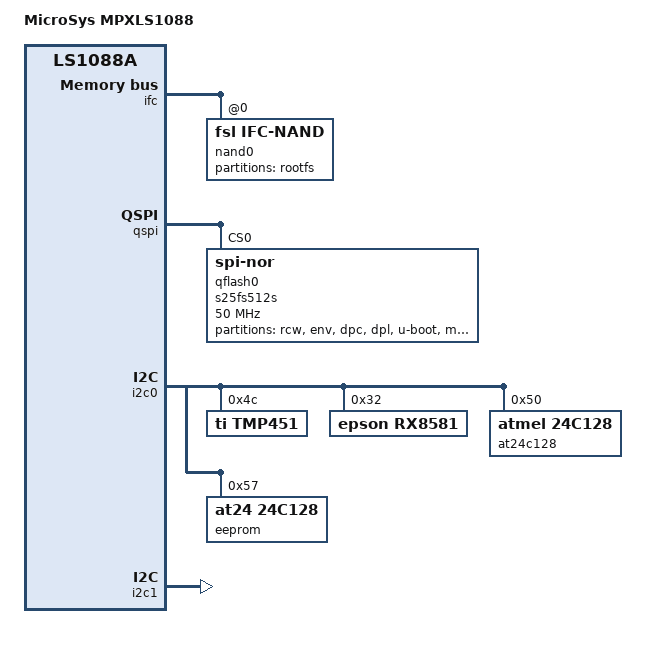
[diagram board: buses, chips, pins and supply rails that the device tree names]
/*
 * MicroSys MPXLS1088 device tree source
 *
 * Copyright 2017 NXP
 * Copyright (C) 2018-2021 MicroSys Electronics GmbH
 *
 * SPDX-License-Identifier:	GPL-2.0+
 */

/dts-v1/;

#include "fsl-ls1088a.dtsi"

/ {
	model = "MicroSys MPXLS1088";
	compatible = "fsl,ls1088a-rdb", "fsl,ls1088a";
	aliases {
		spi0 = &qspi;
		nand0 = &nand0;
	};
};

&ifc {
	#address-cells = <2>;
	#size-cells = <1>;
	status = "okay";

	nand0: nand@0,0 {
		#address-cells = <1>;
		#size-cells = <1>;
		compatible = "fsl,ifc-nand";
		reg = <0x0 0x0 0x10000>;
		partition@0 {
			reg = <0x0 0x20000000>;
			label = "nand0";
		};
	};

};

&qspi {
	bus-num = <0>;
	status = "okay";

	qflash0: s25fs512s@0 {
		#address-cells = <1>;
		#size-cells = <1>;
		compatible = "jedec,spi-nor";
		spi-max-frequency = <50000000>;
		reg = <0>;
	};
};

&nand0 {
		partition@0 {
			reg = <0x0 0x20000000>;
			label = "rootfs";
		};
};

&qflash0 {
		partition@0 {
			reg = <0x0 0x2000>;
			label = "rcw";
		};
		partition@1 {
			reg = <0x2000 0x2000>;
			label = "env";
		};
		partition@2 {
			reg = <0x4000 0x2000>;
			label = "dpc";
		};
		partition@3 {
			reg = <0x6000 0x2000>;
			label = "dpl";
		};
		partition@4 {
			reg = <0x100000 0x100000>;
			label = "u-boot";
		};
		partition@5 {
			reg = <0x300000 0x200000>;
			label = "mc";
		};
		partition@6 {
			reg = <0x500000 0xb00000>;
			label = "kernel";
		};
};
&i2c0 {
    status = "okay";
    u-boot,dm-pre-reloc;

    tmp451: temp@4c {
        compatible = "ti,tmp451";
        reg = <0x4c>;
        u-boot,i2c-offset-len = <1>; /* one address byte */
    };

    rx8581: rtc@32 {
		compatible = "epson,rx8581";
		reg = <0x32>;
        u-boot,i2c-offset-len = <1>; /* one address byte */
    };

    at24c128: eeprom@54 {
        compatible = "atmel,24c128";
        reg = <0x50>;
        u-boot,i2c-offset-len = <2>; /* two address bytes */
        write-page-size = <64>;
        page-write-delay = <5000>; /* 5ms delay when writing */
        max-speed = <400000>;
    };

   eeprom@57 {
	compatible = "at24,24c128";
	reg = <0x57>;
	u-boot,i2c-offset-len = <2>; /* two address bytes */
	write-page-size = <64>;
	page-write-delay = <5000>; /* 5ms delay when writing */
        max-speed = <400000>;
};
};

&i2c1 {
	status = "okay";
};
